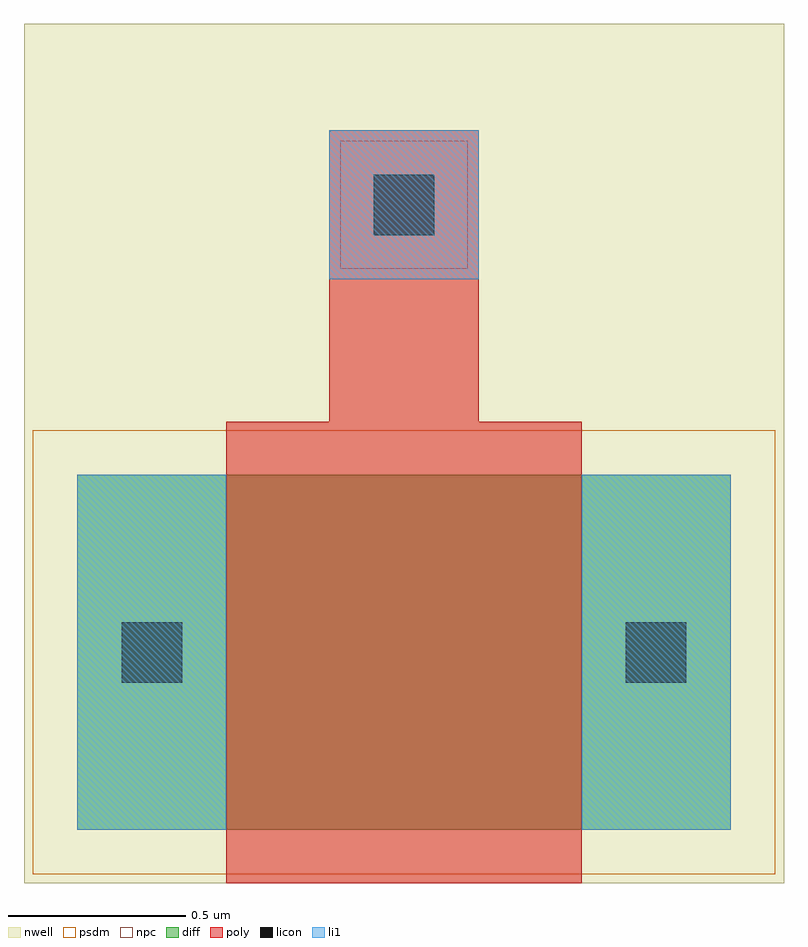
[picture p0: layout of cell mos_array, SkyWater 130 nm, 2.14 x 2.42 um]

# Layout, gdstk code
import gdstk
lib = gdstk.Library(unit=1e-6, precision=1e-09)
def R(c, l, rs):  # rectangles x0, y0, x1, y1
    for r in rs: c.add(gdstk.rectangle(r[:2], r[2:], *l))
nwell = (64, 20)
diff = (65, 20)
poly = (66, 20)
licon = (66, 44)
li1 = (67, 20)
psdm = (94, 20)
npc = (95, 20)

mos_array = lib.new_cell('mos_array')
R(mos_array, nwell, [(-0.15,-0.15,1.99,2.27)])
R(mos_array, diff, [(0,0,1.84,1)])
R(mos_array, poly, [(0.42,-0.15,1.42,1), (0.42,1,1.42,1.15), (0.42,1,1.42,1.15), (0.71,1.15,1.13,1.97)])
R(mos_array, licon, [(0.125,0.415,0.295,0.585), (1.545,0.415,1.715,0.585), (0.835,1.675,1.005,1.845)])
R(mos_array, li1, [(0,0,0.42,1), (1.42,0,1.84,1), (0.71,1.55,1.13,1.97)])
R(mos_array, psdm, [(-0.125,-0.125,1.965,1.125)])
R(mos_array, npc, [(0.74,1.58,1.1,1.94)])

lib.write_gds('mos_array.gds')
